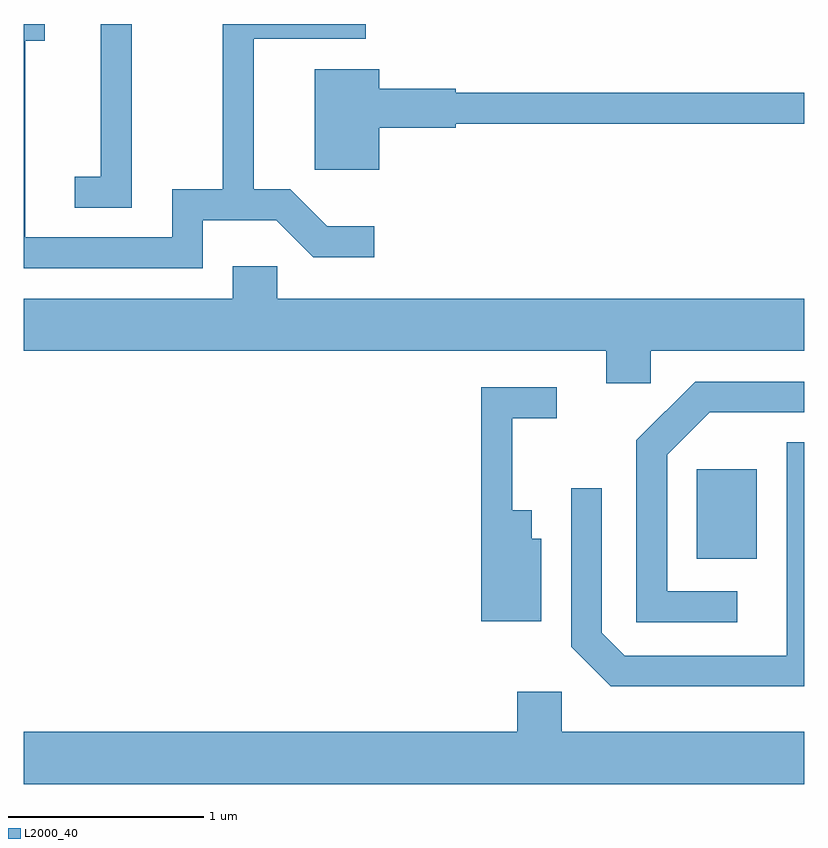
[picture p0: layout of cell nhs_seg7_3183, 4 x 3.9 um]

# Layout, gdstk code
import gdstk
lib = gdstk.Library(unit=1e-6, precision=1e-09)
def R(c, l, rs):  # rectangles x0, y0, x1, y1
    for r in rs: c.add(gdstk.rectangle(r[:2], r[2:], *l))
def P(c, l, *ps):  # polygons
    for p in ps: c.add(gdstk.Polygon(p, *l))
L2000_40 = (2000, 40)

nhs_seg7_3183 = lib.new_cell('nhs_seg7_3183')
R(nhs_seg7_3183, L2000_40, [(287.061,1675.511,287.369,1675.969)])
P(nhs_seg7_3183, L2000_40, [(284.164,1678.252),(284.006,1678.252),(284.006,1677.469),(283.873,1677.469),(283.873,1677.311),(284.164,1677.311)],
  [(284.529,1677.246),(284.904,1677.246),(285.094,1677.056),(285.408,1677.056),(285.408,1677.214),(285.167,1677.214),(284.977,1677.404),(284.789,1677.404),(284.789,1678.176),(285.364,1678.176),(285.364,1678.252),(284.631,1678.252),(284.631,1677.404),(284.371,1677.404),(284.371,1677.159),(283.619,1677.159),(283.619,1678.166),(283.718,1678.166),(283.718,1678.252),(283.611,1678.252),(283.611,1677.001),(284.529,1677.001)],
  [(285.434,1677.721),(285.824,1677.721),(285.824,1677.741),(287.611,1677.741),(287.611,1677.899),(285.824,1677.899),(285.824,1677.919),(285.434,1677.919),(285.434,1678.019),(285.101,1678.019),(285.101,1677.506),(285.434,1677.506)],
  [(286.824,1676.576),(287.611,1676.576),(287.611,1676.844),(284.909,1676.844),(284.909,1677.009),(284.681,1677.009),(284.681,1676.844),(283.611,1676.844),(283.611,1676.576),(286.596,1676.576),(286.596,1676.411),(286.824,1676.411)],
  [(287.268,1675.344),(286.909,1675.344),(286.909,1676.044),(287.127,1676.261),(287.611,1676.261),(287.611,1676.419),(287.054,1676.419),(286.751,1676.117),(286.751,1675.186),(287.268,1675.186)],
  [(286.264,1675.614),(286.214,1675.614),(286.214,1675.759),(286.114,1675.759),(286.114,1676.231),(286.343,1676.231),(286.343,1676.389),(285.956,1676.389),(285.956,1675.191),(286.264,1675.191)],
  [(287.611,1676.109),(287.521,1676.109),(287.521,1675.014),(286.692,1675.014),(286.574,1675.132),(286.574,1675.873),(286.416,1675.873),(286.416,1675.059),(286.619,1674.856),(287.611,1674.856)],
  [(287.611,1674.624),(286.369,1674.624),(286.369,1674.829),(286.141,1674.829),(286.141,1674.624),(283.611,1674.624),(283.611,1674.356),(287.611,1674.356)])

lib.write_gds('nhs_seg7_3183.gds')
